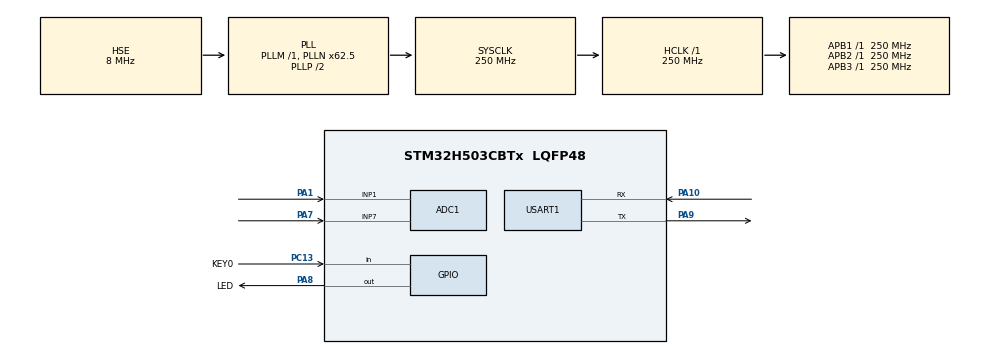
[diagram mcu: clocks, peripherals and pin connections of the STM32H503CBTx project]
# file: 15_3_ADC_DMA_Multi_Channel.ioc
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ADC1.Channel-0\#ChannelRegularConversion=ADC_CHANNEL_1
ADC1.Channel-1\#ChannelRegularConversion=ADC_CHANNEL_7
ADC1.ClockPrescaler=ADC_CLOCK_ASYNC_DIV8
ADC1.ContinuousConvMode=ENABLE
ADC1.DMAContinuousRequests=ENABLE
ADC1.EOCSelection=ADC_EOC_SEQ_CONV
ADC1.MonitoredBy-0\#ChannelRegularConversion=__NULL
ADC1.MonitoredBy-1\#ChannelRegularConversion=__NULL
ADC1.NbrOfConversion=2
ADC1.NbrOfConversionFlag=1
ADC1.OffsetNumber-0\#ChannelRegularConversion=ADC_OFFSET_NONE
ADC1.OffsetNumber-1\#ChannelRegularConversion=ADC_OFFSET_NONE
ADC1.Overrun=ADC_OVR_DATA_OVERWRITTEN
ADC1.Rank-0\#ChannelRegularConversion=1
ADC1.Rank-1\#ChannelRegularConversion=2
ADC1.SamplingTime-0\#ChannelRegularConversion=ADC_SAMPLETIME_247CYCLES_5
ADC1.SamplingTime-1\#ChannelRegularConversion=ADC_SAMPLETIME_247CYCLES_5
ADC1.master=1
BOOTPATH.BootPathName=LEGACY
BOOTPATH.UserSelectedBootPath=LEGACY
GPDMA1.ChannelPRIV_GPDMACH1=DMA_CHANNEL_NPRIV
GPDMA1.LINKALLOCATEDPORT_GPDMACH1=DMA_LINK_ALLOCATED_PORT1
GPDMA1.LINKEDLISTMODE_GPDMACH1=DMA_LINKEDLIST_CIRCULAR
GPDMA1.TRANSFEREVENTMODE_LL_GPDMACH1=DMA_TCEM_EACH_LL_ITEM_TRANSFER
Mcu.Family=STM32H5
Mcu.Name=STM32H503CBTx
Mcu.Package=LQFP48
NVIC.ADC1_IRQn=true\:1\:0\:true\:false\:true\:true\:true\:true
NVIC.GPDMA1_Channel1_IRQn=true\:2\:1\:true\:false\:true\:true\:true\:true
NVIC.PriorityGroup=NVIC_PRIORITYGROUP_2
NVIC.USART1_IRQn=true\:2\:2\:true\:false\:true\:true\:true\:true
PA1.Signal=ADCx_INP1
PA10.GPIO_ModeDefaultPP=GPIO_MODE_AF_PP
PA10.GPIO_Speed=GPIO_SPEED_FREQ_LOW
PA10.Mode=Asynchronous
PA10.Signal=USART1_RX
PA7.Signal=ADCx_INP7
PA8.GPIO_Label=LED
PA8.GPIO_ModeDefaultOutputPP=GPIO_MODE_OUTPUT_PP
PA8.GPIO_PuPd=GPIO_PULLUP
PA8.PinState=GPIO_PIN_SET
PA8.Signal=GPIO_Output
PA9.GPIO_Speed=GPIO_SPEED_FREQ_HIGH
PA9.Mode=Asynchronous
PA9.Signal=USART1_TX
PC13.GPIO_Label=KEY0
PC13.GPIO_PuPd=GPIO_PULLDOWN
PC13.Signal=GPIO_Input
PC14-OSC32_IN(OSC32_IN).Mode=LSE-External-Oscillator
PC14-OSC32_IN(OSC32_IN).Signal=RCC_OSC32_IN
PC15-OSC32_OUT(OSC32_OUT).Mode=LSE-External-Oscillator
PC15-OSC32_OUT(OSC32_OUT).Signal=RCC_OSC32_OUT
PH0-OSC_IN(PH0).Mode=HSE-External-Oscillator
PH0-OSC_IN(PH0).Signal=RCC_OSC_IN
PH1-OSC_OUT(PH1).Mode=HSE-External-Oscillator
PH1-OSC_OUT(PH1).Signal=RCC_OSC_OUT
ProjectManager.HeapSize=0x200
ProjectManager.StackSize=0x400
ProjectManager.TargetToolchain=STM32CubeIDE
RCC.ADCFreq_Value=250000000
RCC.AHBFreq_Value=250000000
RCC.APB1Freq_Value=250000000
RCC.APB1TimFreq_Value=250000000
RCC.APB2Freq_Value=250000000
RCC.APB2TimFreq_Value=250000000
RCC.APB3Freq_Value=250000000
RCC.CSI_VALUE=4000000
RCC.CortexFreq_Value=250000000
RCC.EPOD_VALUE=8000000
RCC.HCLKFreq_Value=250000000
RCC.HSE_VALUE=8000000
RCC.HSI48_VALUE=48000000
RCC.HSI_VALUE=64000000
RCC.LSIRC_VALUE=32000
RCC.PLL2Q=20
RCC.PLLFRACN=4096
RCC.PLLN=62
RCC.PLLSourceVirtual=RCC_PLL1_SOURCE_HSE
RCC.PREFETCH_ENABLE=1
RCC.SYSCLKFreq_VALUE=250000000
RCC.SYSCLKSource=RCC_SYSCLKSOURCE_PLLCLK
RCC.USBFreq_Value=48000000
RCC.VCOOutputFreq_Value=500000000
SH.ADCx_INP1.0=ADC1_INP1,IN1-Single-Ended
SH.ADCx_INP7.0=ADC1_INP7,IN7-Single-Ended
USART1.VirtualMode=VM_ASYNC
VP_BOOTPATH_VS_BOOTPATH.Mode=BP_Activate
VP_GPDMA1_VS_GPDMACH1.Mode=LINKEDLIST_GPDMACH1
VP_ICACHE_VS_ICACHE.Mode=DefaultMode
VP_MEMORYMAP_VS_MEMORYMAP.Mode=CurAppReg
VP_PWR_VS_DBSignals.Mode=DisableDeadBatterySignals
VP_PWR_VS_LPOM.Mode=PowerOptimisation
VP_PWR_VS_SECSignals.Mode=Security/Privilege
board=custom

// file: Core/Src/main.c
/**
 ****************************************************************************************************
 * @file        main.c
 * @author      ALIENTEK
 * @brief       ADC_DMA_Multi_Channel code
 * @license     Copyright (C) 2012-2024, ALIENTEK
 ****************************************************************************************************
 * @attention
 *
 * platform     : ALIENTEK M48-STM32H503 board
 * website      : www.alientek.com
 * forum        : www.openedv.com/forum.php
 *
 * change logs  ：
 * version      data         notes
 * V1.0         20240309     the first version
 *
 ****************************************************************************************************
 */

/* USER CODE BEGIN Header */

/* USER CODE END Header */
#include "main.h"
#include "adc.h"
#include "gpdma.h"
#include "icache.h"
#include "memorymap.h"
#include "usart.h"
#include "gpio.h"

/* USER CODE BEGIN Includes */
#include "../../BSP/LED/led.h"
/* USER CODE END Includes */

/* USER CODE BEGIN PV */
#define ADC_DMA_BUF_SIZE      2 * 50             /* ADC DMA buffer size */
static uint16_t g_adc_dma_buf[ADC_DMA_BUF_SIZE]; /* ADC DMA buffer */

extern uint8_t g_adc_dma_sta; /* DMA transfer completion flag */
/* USER CODE END PV */

void SystemClock_Config(void);

/* USER CODE BEGIN 0 */
/**
 * @brief   Displays information about the experiment
 * @param   None
 * @retval  None
 */
void stm32h503cb_show_mesg(void)
{
	/* The serial port outputs the experimental information */
	printf("\n");
	printf("********************************\r\n");
	printf("STM32H503\r\n");
	printf("ADC(DMA Read) Test\r\n");
	printf("ATOM@ALIENTEK\r\n");
	printf("********************************\r\n");
	printf("\r\n");
}
/* USER CODE END 0 */

int main(void)
{
  /* USER CODE BEGIN 1 */
  uint8_t j;
  uint16_t i;
  uint32_t sum;
  uint16_t adcdata;
  uint16_t voltage;
  /* USER CODE END 1 */

  /* MCU Configuration--------------------------------------------------------*/

  /* Reset of all peripherals, Initializes the Flash interface and the Systick. */
  HAL_Init();

  /* Configure the system clock */
  SystemClock_Config();

  /* Initialize all configured peripherals */
  MX_GPIO_Init();
  MX_GPDMA1_Init();
  MX_ICACHE_Init();
  MX_ADC1_Init();
  MX_USART1_UART_Init();
  /* USER CODE BEGIN 2 */
  stm32h503cb_show_mesg();
  HAL_ADCEx_Calibration_Start(&hadc1, ADC_SINGLE_ENDED);
  HAL_ADC_Start_DMA(&hadc1, (uint32_t *)g_adc_dma_buf, ADC_DMA_BUF_SIZE);
  /* USER CODE END 2 */

  /* Infinite loop */
  /* USER CODE BEGIN WHILE */
  while (1)
  {
	  HAL_ADC_Start(&hadc1);

	  if (g_adc_dma_sta == 1)
	  {
		  for (j = 0; j < 2; j++)
		  {
			  /* The average value of the ADC data acquired by DMA is calculated */
			  sum = 0;

			  for (i = 0; i < (ADC_DMA_BUF_SIZE / 2); i++) /* The multiple sampled values of the ADC are mean-filtered */
			  {
				  sum += g_adc_dma_buf[(2 * i) + j];
			  }

			  adcdata = sum / (ADC_DMA_BUF_SIZE / 2);     /* averaging */

			  /* displaying results */
			  printf("\r\noriginal value[%d]:%d\r\n", j + 1, adcdata);

			  voltage = (adcdata * 3300) / 4095;    /* Calculate the actual voltage value (1000 times larger) */
			  printf("\r\nvoltage[%d]:%d.%d\r\n", j + 1, voltage / 1000, voltage % 1000);

			  g_adc_dma_sta = 0;                    /* Clear the DMA acquisition completion status flag */
		  }
	  }

	  LED_TOGGLE();
	  HAL_Delay(1000);   /* delay 500ms */

    /* USER CODE END WHILE */

  }
}

void SystemClock_Config(void)
{
  RCC_OscInitTypeDef RCC_OscInitStruct = {0};
  RCC_ClkInitTypeDef RCC_ClkInitStruct = {0};

  /** Configure the main internal regulator output voltage
  */
  __HAL_PWR_VOLTAGESCALING_CONFIG(PWR_REGULATOR_VOLTAGE_SCALE0);

  while(!__HAL_PWR_GET_FLAG(PWR_FLAG_VOSRDY)) {}

  /** Initializes the RCC Oscillators according to the specified parameters
  * in the RCC_OscInitTypeDef structure.
  */
  RCC_OscInitStruct.OscillatorType = RCC_OSCILLATORTYPE_HSE;
  RCC_OscInitStruct.HSEState = RCC_HSE_ON;
  RCC_OscInitStruct.PLL.PLLState = RCC_PLL_ON;
  RCC_OscInitStruct.PLL.PLLSource = RCC_PLL1_SOURCE_HSE;
  RCC_OscInitStruct.PLL.PLLM = 1;
  RCC_OscInitStruct.PLL.PLLN = 62;
  RCC_OscInitStruct.PLL.PLLP = 2;
  RCC_OscInitStruct.PLL.PLLQ = 2;
  RCC_OscInitStruct.PLL.PLLR = 2;
  RCC_OscInitStruct.PLL.PLLRGE = RCC_PLL1_VCIRANGE_3;
  RCC_OscInitStruct.PLL.PLLVCOSEL = RCC_PLL1_VCORANGE_WIDE;
  RCC_OscInitStruct.PLL.PLLFRACN = 4096;
  if (HAL_RCC_OscConfig(&RCC_OscInitStruct) != HAL_OK)
  {
    Error_Handler();
  }

  /** Initializes the CPU, AHB and APB buses clocks
  */
  RCC_ClkInitStruct.ClockType = RCC_CLOCKTYPE_HCLK|RCC_CLOCKTYPE_SYSCLK
                              |RCC_CLOCKTYPE_PCLK1|RCC_CLOCKTYPE_PCLK2
                              |RCC_CLOCKTYPE_PCLK3;
  RCC_ClkInitStruct.SYSCLKSource = RCC_SYSCLKSOURCE_PLLCLK;
  RCC_ClkInitStruct.AHBCLKDivider = RCC_SYSCLK_DIV1;
  RCC_ClkInitStruct.APB1CLKDivider = RCC_HCLK_DIV1;
  RCC_ClkInitStruct.APB2CLKDivider = RCC_HCLK_DIV1;
  RCC_ClkInitStruct.APB3CLKDivider = RCC_HCLK_DIV1;

  if (HAL_RCC_ClockConfig(&RCC_ClkInitStruct, FLASH_LATENCY_5) != HAL_OK)
  {
    Error_Handler();
  }
}

void Error_Handler(void)
{
  __disable_irq();
  while (1)
  {
  }
}
